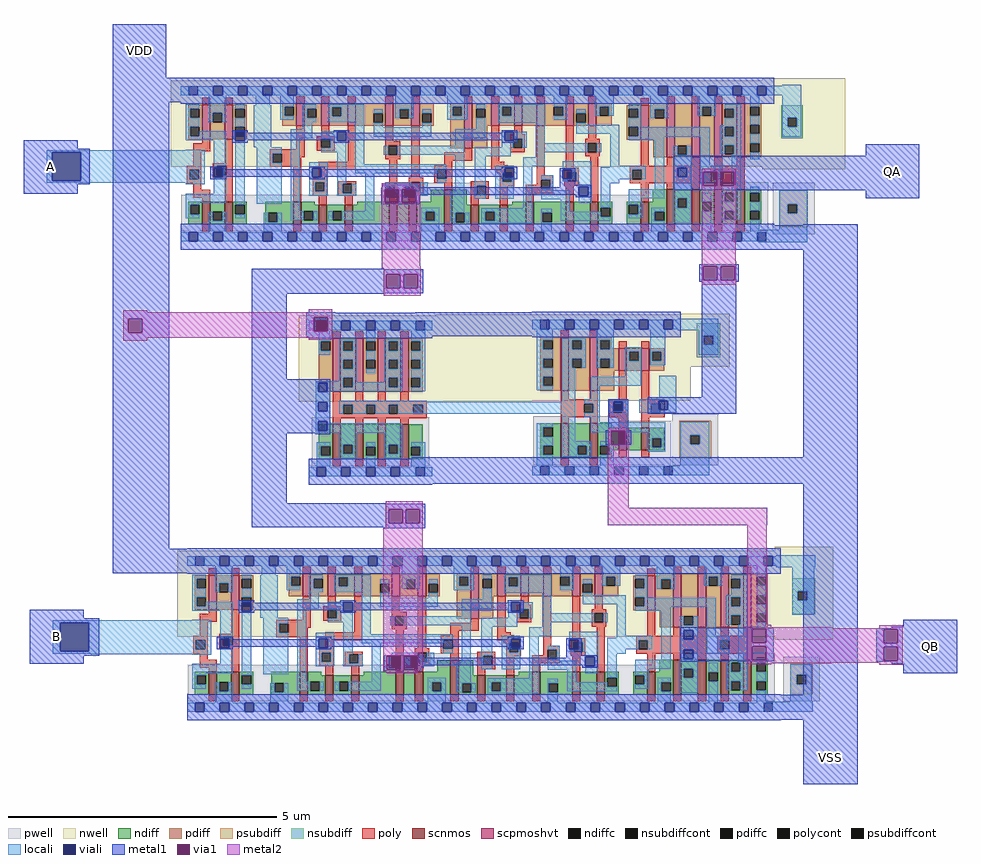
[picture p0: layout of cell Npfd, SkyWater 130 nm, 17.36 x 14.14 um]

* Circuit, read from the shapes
.subckt Npfd A QA VDD VSS QB B
XM1 VSS A n1 VSS sky130_fd_pr__nfet_01v8 w=0.42 l=0.15
XM2 VSS B n2 VSS sky130_fd_pr__nfet_01v8 w=0.42 l=0.15
XM3 n3 n1 VSS VSS sky130_fd_pr__nfet_01v8 w=0.42 l=0.15
XM4 n4 n2 VSS VSS sky130_fd_pr__nfet_01v8 w=0.42 l=0.15
XM5 n5 VDD VSS VSS sky130_fd_pr__nfet_01v8 w=0.42 l=0.15
XM6 n6 VDD VSS VSS sky130_fd_pr__nfet_01v8 w=0.42 l=0.15
XM7 n7 n1 n5 VSS sky130_fd_pr__nfet_01v8 w=0.36 l=0.15
XM8 n8 n2 n6 VSS sky130_fd_pr__nfet_01v8 w=0.36 l=0.15
XM9 x1/RESET_B x4/A VSS VSS sky130_fd_pr__nfet_01v8 w=0.65 l=0.15 m=4
XM10 n9 n3 n7 VSS sky130_fd_pr__nfet_01v8 w=0.36 l=0.15
XM11 n10 n4 n8 VSS sky130_fd_pr__nfet_01v8 w=0.36 l=0.15
XM12 n11 n12 n9 VSS sky130_fd_pr__nfet_01v8 w=0.42 l=0.15
XM13 n13 n14 n10 VSS sky130_fd_pr__nfet_01v8 w=0.42 l=0.15
XM14 VSS x1/RESET_B n11 VSS sky130_fd_pr__nfet_01v8 w=0.42 l=0.15
XM15 VSS x1/RESET_B n13 VSS sky130_fd_pr__nfet_01v8 w=0.42 l=0.15
XM16 n12 n7 VSS VSS sky130_fd_pr__nfet_01v8 w=0.64 l=0.15
XM17 n14 n8 VSS VSS sky130_fd_pr__nfet_01v8 w=0.64 l=0.15
XM18 n15 n3 n12 VSS sky130_fd_pr__nfet_01v8 w=0.36 l=0.15
XM19 n16 n4 n14 VSS sky130_fd_pr__nfet_01v8 w=0.36 l=0.15
XM20 n17 n1 n15 VSS sky130_fd_pr__nfet_01v8 w=0.36 l=0.15
XM21 n18 n2 n16 VSS sky130_fd_pr__nfet_01v8 w=0.36 l=0.15
XM22 VSS n19 n17 VSS sky130_fd_pr__nfet_01v8 w=0.42 l=0.15
XM23 VSS n20 n18 VSS sky130_fd_pr__nfet_01v8 w=0.42 l=0.15
XM24 x4/A n21 VSS VSS sky130_fd_pr__nfet_01v8 w=0.65 l=0.15 m=2
XM25 n22 x1/RESET_B VSS VSS sky130_fd_pr__nfet_01v8 w=0.42 l=0.15
XM26 n23 x1/RESET_B VSS VSS sky130_fd_pr__nfet_01v8 w=0.42 l=0.15
XM27 n19 n15 n22 VSS sky130_fd_pr__nfet_01v8 w=0.42 l=0.15
XM28 n20 n16 n23 VSS sky130_fd_pr__nfet_01v8 w=0.42 l=0.15
XM29 n24 QB VSS VSS sky130_fd_pr__nfet_01v8 w=0.42 l=0.15
XM30 VSS n19 n25 VSS sky130_fd_pr__nfet_01v8 w=0.42 l=0.15
XM31 n21 QA n24 VSS sky130_fd_pr__nfet_01v8 w=0.42 l=0.15
XM32 VSS n20 n26 VSS sky130_fd_pr__nfet_01v8 w=0.42 l=0.15
XM33 QA n19 VSS VSS sky130_fd_pr__nfet_01v8 w=0.65 l=0.15 m=2
XM34 QB n20 VSS VSS sky130_fd_pr__nfet_01v8 w=0.65 l=0.15 m=2
XM35 x1/Q_N n25 VSS VSS sky130_fd_pr__nfet_01v8 w=0.65 l=0.15 m=2
XM36 x2/Q_N n26 VSS VSS sky130_fd_pr__nfet_01v8 w=0.65 l=0.15 m=2
XM37 VDD A n1 VDD sky130_fd_pr__pfet_01v8_hvt w=0.64 l=0.15
XM38 VDD B n2 VDD sky130_fd_pr__pfet_01v8_hvt w=0.64 l=0.15
XM39 n3 n1 VDD VDD sky130_fd_pr__pfet_01v8_hvt w=0.64 l=0.15
XM40 n4 n2 VDD VDD sky130_fd_pr__pfet_01v8_hvt w=0.64 l=0.15
XM41 n5 VDD VDD VDD sky130_fd_pr__pfet_01v8_hvt w=0.42 l=0.15
XM42 n6 VDD VDD VDD sky130_fd_pr__pfet_01v8_hvt w=0.42 l=0.15
XM43 n7 n3 n5 VDD sky130_fd_pr__pfet_01v8_hvt w=0.42 l=0.15
XM44 n8 n4 n6 VDD sky130_fd_pr__pfet_01v8_hvt w=0.42 l=0.15
XM45 x1/RESET_B x4/A VDD VDD sky130_fd_pr__pfet_01v8_hvt w=1 l=0.15 m=4
XM46 n27 n1 n7 VDD sky130_fd_pr__pfet_01v8_hvt w=0.42 l=0.15
XM47 n28 n2 n8 VDD sky130_fd_pr__pfet_01v8_hvt w=0.42 l=0.15
XM48 VDD n12 n27 VDD sky130_fd_pr__pfet_01v8_hvt w=0.42 l=0.15
XM49 VDD n14 n28 VDD sky130_fd_pr__pfet_01v8_hvt w=0.42 l=0.15
XM50 n27 x1/RESET_B VDD VDD sky130_fd_pr__pfet_01v8_hvt w=0.42 l=0.15
XM51 n28 x1/RESET_B VDD VDD sky130_fd_pr__pfet_01v8_hvt w=0.42 l=0.15
XM52 n12 n7 VDD VDD sky130_fd_pr__pfet_01v8_hvt w=0.84 l=0.15
XM53 n14 n8 VDD VDD sky130_fd_pr__pfet_01v8_hvt w=0.84 l=0.15
XM54 n15 n1 n12 VDD sky130_fd_pr__pfet_01v8_hvt w=0.42 l=0.15
XM55 n16 n2 n14 VDD sky130_fd_pr__pfet_01v8_hvt w=0.42 l=0.15
XM56 n29 n3 n15 VDD sky130_fd_pr__pfet_01v8_hvt w=0.42 l=0.15
XM57 n30 n4 n16 VDD sky130_fd_pr__pfet_01v8_hvt w=0.42 l=0.15
XM58 VDD n19 n29 VDD sky130_fd_pr__pfet_01v8_hvt w=0.42 l=0.15
XM59 VDD n20 n30 VDD sky130_fd_pr__pfet_01v8_hvt w=0.42 l=0.15
XM60 x4/A n21 VDD VDD sky130_fd_pr__pfet_01v8_hvt w=1 l=0.15 m=2
XM61 n19 x1/RESET_B VDD VDD sky130_fd_pr__pfet_01v8_hvt w=0.42 l=0.15
XM62 n20 x1/RESET_B VDD VDD sky130_fd_pr__pfet_01v8_hvt w=0.42 l=0.15
XM63 VDD n15 n19 VDD sky130_fd_pr__pfet_01v8_hvt w=0.42 l=0.15
XM64 VDD n16 n20 VDD sky130_fd_pr__pfet_01v8_hvt w=0.42 l=0.15
XM65 n21 QB VDD VDD sky130_fd_pr__pfet_01v8_hvt w=0.42 l=0.15
XM66 VDD n19 n25 VDD sky130_fd_pr__pfet_01v8_hvt w=0.64 l=0.15
XM67 VDD QA n21 VDD sky130_fd_pr__pfet_01v8_hvt w=0.42 l=0.15
XM68 VDD n20 n26 VDD sky130_fd_pr__pfet_01v8_hvt w=0.64 l=0.15
XM69 QA n19 VDD VDD sky130_fd_pr__pfet_01v8_hvt w=1 l=0.15 m=2
XM70 QB n20 VDD VDD sky130_fd_pr__pfet_01v8_hvt w=1 l=0.15 m=2
XM71 x1/Q_N n25 VDD VDD sky130_fd_pr__pfet_01v8_hvt w=1 l=0.15 m=2
XM72 x2/Q_N n26 VDD VDD sky130_fd_pr__pfet_01v8_hvt w=1 l=0.15 m=2
.ends

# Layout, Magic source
magic
tech sky130A
magscale 1 2
<< nwell >>
rect 3772 106 4080 444
rect 2558 -758 2914 -434
rect 3468 -630 3650 -432
rect 3818 -1646 4036 -1300
<< pwell >>
rect 3810 -136 3966 56
rect 3436 -996 3608 -804
rect 3850 -1874 3986 -1708
<< psubdiff >>
rect 3836 -24 3940 30
rect 3836 -58 3867 -24
rect 3901 -58 3940 -24
rect 3836 -110 3940 -58
rect 3462 -884 3582 -830
rect 3462 -918 3504 -884
rect 3538 -918 3582 -884
rect 3462 -970 3582 -918
rect 3876 -1776 3960 -1734
rect 3876 -1810 3900 -1776
rect 3934 -1810 3960 -1776
rect 3876 -1848 3960 -1810
<< nsubdiff >>
rect 3842 298 3922 344
rect 3842 264 3866 298
rect 3900 264 3922 298
rect 3842 220 3922 264
rect 3528 -514 3614 -468
rect 3528 -548 3554 -514
rect 3588 -548 3614 -514
rect 3528 -594 3614 -548
rect 3882 -1464 3968 -1416
rect 3882 -1498 3904 -1464
rect 3938 -1498 3968 -1464
rect 3882 -1550 3968 -1498
<< psubdiffcont >>
rect 3867 -58 3901 -24
rect 3504 -918 3538 -884
rect 3900 -1810 3934 -1776
<< nsubdiffcont >>
rect 3866 264 3900 298
rect 3554 -548 3588 -514
rect 3904 -1498 3938 -1464
<< locali >>
rect 3846 416 3916 420
rect 1886 314 1938 386
rect 3804 380 3916 416
rect 3846 298 3916 380
rect 3846 264 3866 298
rect 3900 264 3916 298
rect 3846 226 3916 264
rect 1108 169 1674 176
rect 1108 63 1129 169
rect 1235 63 1674 169
rect 1108 56 1674 63
rect 3448 111 3498 144
rect 3448 77 3456 111
rect 3490 77 3498 111
rect 3448 44 3498 77
rect 3834 -24 3938 28
rect 3834 -58 3867 -24
rect 3901 -58 3938 -24
rect 3834 -120 3938 -58
rect 3756 -166 3938 -120
rect 3456 -494 3608 -450
rect 3534 -514 3608 -494
rect 3534 -548 3554 -514
rect 3588 -548 3608 -514
rect 3534 -584 3608 -548
rect 2114 -689 2158 -688
rect 2114 -723 2119 -689
rect 2153 -723 2158 -689
rect 2114 -761 2158 -723
rect 3358 -756 3448 -748
rect 3210 -759 3260 -756
rect 2114 -795 2119 -761
rect 2153 -795 2158 -761
rect 2114 -833 2158 -795
rect 2474 -804 3070 -760
rect 3210 -793 3218 -759
rect 3252 -793 3260 -759
rect 3210 -796 3260 -793
rect 3358 -790 3386 -756
rect 3420 -790 3448 -756
rect 3358 -798 3448 -790
rect 2114 -867 2119 -833
rect 2153 -867 2158 -833
rect 2114 -868 2158 -867
rect 3466 -884 3574 -834
rect 3466 -918 3504 -884
rect 3538 -918 3574 -884
rect 3466 -998 3574 -918
rect 3426 -1034 3574 -998
rect 1908 -1438 1960 -1366
rect 3824 -1376 3968 -1330
rect 3882 -1464 3964 -1376
rect 3882 -1498 3904 -1464
rect 3938 -1498 3964 -1464
rect 3882 -1552 3964 -1498
rect 1132 -1582 1704 -1572
rect 1132 -1688 1159 -1582
rect 1265 -1688 1704 -1582
rect 1132 -1698 1704 -1688
rect 1274 -1700 1704 -1698
rect 3472 -1644 3480 -1610
rect 3514 -1644 3522 -1610
rect 3472 -1682 3522 -1644
rect 3472 -1716 3480 -1682
rect 3514 -1716 3522 -1682
rect 3876 -1776 3956 -1736
rect 3876 -1810 3900 -1776
rect 3934 -1810 3956 -1776
rect 3876 -1876 3956 -1810
rect 3766 -1914 3960 -1876
<< viali >>
rect 1129 63 1235 169
rect 3456 77 3490 111
rect 2119 -723 2153 -689
rect 2119 -795 2153 -761
rect 3218 -793 3252 -759
rect 3386 -790 3420 -756
rect 2119 -867 2153 -833
rect 1159 -1688 1265 -1582
rect 3480 -1644 3514 -1610
rect 3480 -1716 3514 -1682
<< metal1 >>
rect 1354 446 1554 646
rect 1354 354 1684 446
rect 1024 182 1224 214
rect 1024 169 1268 182
rect 1024 63 1129 169
rect 1235 63 1268 169
rect 1024 50 1268 63
rect 1024 14 1224 50
rect 1354 -450 1564 354
rect 4156 156 4356 198
rect 3442 111 4356 156
rect 3442 77 3456 111
rect 3490 96 4356 111
rect 3490 77 3551 96
rect 3442 44 3551 77
rect 3603 44 3615 96
rect 3667 44 4356 96
rect 2354 32 2494 36
rect 3442 32 4356 44
rect 2354 -20 2366 32
rect 2418 -20 2430 32
rect 2482 -20 2494 32
rect 3444 28 4356 32
rect 4156 -2 4356 28
rect 2354 -24 2494 -20
rect 3924 -102 4126 -100
rect 3752 -194 4126 -102
rect 3536 -255 3684 -248
rect 1354 -502 1412 -450
rect 1464 -502 1564 -450
rect 1354 -1306 1564 -502
rect 1872 -266 2364 -264
rect 1872 -285 2510 -266
rect 1872 -337 2373 -285
rect 2425 -337 2437 -285
rect 2489 -337 2510 -285
rect 3536 -307 3552 -255
rect 3604 -307 3616 -255
rect 3668 -307 3684 -255
rect 3536 -314 3684 -307
rect 1872 -356 2510 -337
rect 1872 -358 2364 -356
rect 1872 -676 2002 -358
rect 2074 -446 2182 -426
rect 2074 -498 2102 -446
rect 2154 -498 2182 -446
rect 2074 -518 2182 -498
rect 2480 -516 2970 -426
rect 1872 -689 2164 -676
rect 1872 -723 2119 -689
rect 2153 -723 2164 -689
rect 1872 -761 2164 -723
rect 3546 -742 3674 -314
rect 1872 -795 2119 -761
rect 2153 -795 2164 -761
rect 1872 -833 2164 -795
rect 1872 -867 2119 -833
rect 2153 -867 2164 -833
rect 3198 -759 3272 -750
rect 3198 -793 3218 -759
rect 3252 -793 3272 -759
rect 3198 -866 3272 -793
rect 3346 -756 3674 -742
rect 3346 -790 3386 -756
rect 3420 -790 3674 -756
rect 3346 -804 3674 -790
rect 1872 -876 2164 -867
rect 1872 -1138 2002 -876
rect 2108 -880 2164 -876
rect 3188 -867 3284 -866
rect 3188 -919 3210 -867
rect 3262 -919 3284 -867
rect 3188 -920 3284 -919
rect 3924 -966 4126 -194
rect 2468 -1064 4126 -966
rect 1872 -1140 2374 -1138
rect 1872 -1159 2518 -1140
rect 1872 -1211 2381 -1159
rect 2433 -1211 2445 -1159
rect 2497 -1211 2518 -1159
rect 1872 -1226 2518 -1211
rect 2360 -1230 2518 -1226
rect 1354 -1398 1694 -1306
rect 1632 -1400 1694 -1398
rect 1046 -1566 1246 -1534
rect 1046 -1582 1304 -1566
rect 1046 -1688 1159 -1582
rect 1265 -1688 1304 -1582
rect 1046 -1704 1304 -1688
rect 3466 -1600 3528 -1598
rect 3466 -1605 3814 -1600
rect 3466 -1610 3734 -1605
rect 3466 -1644 3480 -1610
rect 3514 -1644 3734 -1610
rect 3466 -1657 3734 -1644
rect 3786 -1657 3814 -1605
rect 3466 -1669 3814 -1657
rect 3466 -1682 3734 -1669
rect 1046 -1734 1246 -1704
rect 2364 -1705 2500 -1702
rect 2364 -1757 2374 -1705
rect 2426 -1757 2438 -1705
rect 2490 -1757 2500 -1705
rect 3466 -1716 3480 -1682
rect 3514 -1716 3734 -1682
rect 3466 -1721 3734 -1716
rect 3786 -1721 3814 -1669
rect 3466 -1726 3814 -1721
rect 3466 -1728 3528 -1726
rect 2364 -1760 2500 -1757
rect 3924 -1850 4126 -1064
rect 4296 -1596 4496 -1570
rect 4254 -1602 4496 -1596
rect 4196 -1607 4496 -1602
rect 4196 -1659 4224 -1607
rect 4276 -1659 4496 -1607
rect 4196 -1671 4496 -1659
rect 4196 -1723 4224 -1671
rect 4276 -1723 4496 -1671
rect 4196 -1728 4496 -1723
rect 4254 -1734 4496 -1728
rect 4296 -1770 4496 -1734
rect 3774 -1942 4126 -1850
rect 3924 -2182 4126 -1942
<< via1 >>
rect 3551 44 3603 96
rect 3615 44 3667 96
rect 2366 -20 2418 32
rect 2430 -20 2482 32
rect 1412 -502 1464 -450
rect 2373 -337 2425 -285
rect 2437 -337 2489 -285
rect 3552 -307 3604 -255
rect 3616 -307 3668 -255
rect 2102 -498 2154 -446
rect 3210 -919 3262 -867
rect 2381 -1211 2433 -1159
rect 2445 -1211 2497 -1159
rect 3734 -1657 3786 -1605
rect 2374 -1757 2426 -1705
rect 2438 -1757 2490 -1705
rect 3734 -1721 3786 -1669
rect 4224 -1659 4276 -1607
rect 4224 -1723 4276 -1671
<< metal2 >>
rect 3546 96 3672 108
rect 2356 32 2498 54
rect 2356 -20 2366 32
rect 2418 -20 2430 32
rect 2482 -20 2498 32
rect 2356 -256 2498 -20
rect 3546 44 3551 96
rect 3603 44 3615 96
rect 3667 44 3672 96
rect 3546 -238 3672 44
rect 3546 -255 3674 -238
rect 2356 -262 2500 -256
rect 2362 -285 2500 -262
rect 2362 -337 2373 -285
rect 2425 -337 2437 -285
rect 2489 -337 2500 -285
rect 3546 -307 3552 -255
rect 3604 -307 3616 -255
rect 3668 -307 3674 -255
rect 3546 -324 3674 -307
rect 2362 -366 2500 -337
rect 1394 -426 1482 -420
rect 2084 -426 2172 -416
rect 1394 -446 2172 -426
rect 1394 -450 2102 -446
rect 1394 -502 1412 -450
rect 1464 -498 2102 -450
rect 2154 -498 2172 -446
rect 1464 -502 2172 -498
rect 1394 -522 2172 -502
rect 1394 -532 1482 -522
rect 2084 -528 2172 -522
rect 3198 -867 3274 -856
rect 3198 -919 3210 -867
rect 3262 -919 3274 -867
rect 3198 -920 3274 -919
rect 2370 -1159 2508 -1130
rect 2370 -1211 2381 -1159
rect 2433 -1211 2445 -1159
rect 2497 -1211 2508 -1159
rect 2370 -1230 2508 -1211
rect 3196 -1154 3274 -920
rect 3196 -1220 3790 -1154
rect 2360 -1705 2508 -1230
rect 2360 -1757 2374 -1705
rect 2426 -1757 2438 -1705
rect 2490 -1740 2508 -1705
rect 3716 -1590 3788 -1220
rect 3716 -1598 3804 -1590
rect 3716 -1602 4030 -1598
rect 4206 -1602 4294 -1592
rect 3716 -1605 4294 -1602
rect 3716 -1657 3734 -1605
rect 3786 -1607 4294 -1605
rect 3786 -1657 4224 -1607
rect 3716 -1659 4224 -1657
rect 4276 -1659 4294 -1607
rect 3716 -1669 4294 -1659
rect 3716 -1721 3734 -1669
rect 3786 -1671 4294 -1669
rect 3786 -1721 4224 -1671
rect 3716 -1723 4224 -1721
rect 4276 -1723 4294 -1671
rect 3716 -1730 4294 -1723
rect 3716 -1732 4030 -1730
rect 3716 -1736 3804 -1732
rect 4206 -1738 4294 -1730
rect 2490 -1757 2506 -1740
rect 2360 -1762 2506 -1757
rect 2374 -1770 2490 -1762
use sky130_fd_sc_hd__dfrbp_2  x1 ~/pll/magic/pfd
transform 1 0 1608 0 1 -146
box -38 -48 2246 592
use sky130_fd_sc_hd__dfrbp_2  x2
transform 1 0 1632 0 1 -1896
box -38 -48 2246 592
use sky130_fd_sc_hd__and2_2  x3 ~/pll/magic/pfd
transform -1 0 3468 0 1 -1016
box -38 -48 590 592
use sky130_fd_sc_hd__inv_4  x4 ~/pll/magic/pfd
transform -1 0 2544 0 1 -1020
box -38 -48 498 592
<< labels >>
flabel metal1 s 1024 14 1224 214 0 FreeSans 500 0 0 0 A
port 1 nsew
flabel metal1 s 4156 -2 4356 198 0 FreeSans 500 0 0 0 QA
port 2 nsew
flabel metal1 s 1354 446 1554 646 0 FreeSans 500 0 0 0 VDD
port 3 nsew
flabel metal1 s 3926 -2182 4126 -1982 0 FreeSans 500 0 0 0 VSS
port 4 nsew
flabel metal1 s 4296 -1770 4496 -1570 0 FreeSans 500 0 0 0 QB
port 5 nsew
flabel metal1 s 1046 -1734 1246 -1534 0 FreeSans 500 0 0 0 B
port 6 nsew
<< end >>

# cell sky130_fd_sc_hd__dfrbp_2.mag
magic
tech sky130A
magscale 1 2
<< nwell >>
rect -38 261 2246 582
<< pwell >>
rect 903 157 1089 201
rect 1730 157 2186 203
rect 1 21 2186 157
rect 29 -17 63 21
<< scnmos >>
rect 79 47 109 131
rect 163 47 193 131
rect 418 47 448 131
rect 513 47 543 119
rect 609 47 639 119
rect 775 47 805 131
rect 847 47 877 131
rect 979 47 1009 175
rect 1078 47 1108 119
rect 1187 47 1217 119
rect 1283 47 1313 131
rect 1432 47 1462 131
rect 1523 47 1553 131
rect 1711 47 1741 131
rect 1808 47 1838 177
rect 1900 47 1930 177
rect 1984 47 2014 177
rect 2068 47 2098 177
<< scpmoshvt >>
rect 79 363 109 491
rect 163 363 193 491
rect 430 413 460 497
rect 522 413 552 497
rect 621 413 651 497
rect 761 413 791 497
rect 858 413 888 497
rect 1055 329 1085 497
rect 1154 413 1184 497
rect 1240 413 1270 497
rect 1324 413 1354 497
rect 1432 413 1462 497
rect 1516 413 1546 497
rect 1711 361 1741 489
rect 1808 297 1838 497
rect 1900 297 1930 497
rect 1984 297 2014 497
rect 2068 297 2098 497
<< ndiff >>
rect 27 119 79 131
rect 27 85 35 119
rect 69 85 79 119
rect 27 47 79 85
rect 109 93 163 131
rect 109 59 119 93
rect 153 59 163 93
rect 109 47 163 59
rect 193 119 245 131
rect 193 85 203 119
rect 237 85 245 119
rect 193 47 245 85
rect 313 89 418 131
rect 313 55 325 89
rect 359 55 418 89
rect 313 47 418 55
rect 448 119 498 131
rect 929 131 979 175
rect 657 119 775 131
rect 448 95 513 119
rect 448 61 458 95
rect 492 61 513 95
rect 448 47 513 61
rect 543 95 609 119
rect 543 61 565 95
rect 599 61 609 95
rect 543 47 609 61
rect 639 47 775 119
rect 805 47 847 131
rect 877 93 979 131
rect 877 59 911 93
rect 945 59 979 93
rect 877 47 979 59
rect 1009 119 1063 175
rect 1756 131 1808 177
rect 1233 119 1283 131
rect 1009 89 1078 119
rect 1009 55 1023 89
rect 1057 55 1078 89
rect 1009 47 1078 55
rect 1108 93 1187 119
rect 1108 59 1133 93
rect 1167 59 1187 93
rect 1108 47 1187 59
rect 1217 47 1283 119
rect 1313 89 1432 131
rect 1313 55 1345 89
rect 1379 55 1432 89
rect 1313 47 1432 55
rect 1462 47 1523 131
rect 1553 109 1605 131
rect 1553 75 1563 109
rect 1597 75 1605 109
rect 1553 47 1605 75
rect 1659 119 1711 131
rect 1659 85 1667 119
rect 1701 85 1711 119
rect 1659 47 1711 85
rect 1741 93 1808 131
rect 1741 59 1764 93
rect 1798 59 1808 93
rect 1741 47 1808 59
rect 1838 143 1900 177
rect 1838 109 1848 143
rect 1882 109 1900 143
rect 1838 47 1900 109
rect 1930 130 1984 177
rect 1930 96 1940 130
rect 1974 96 1984 130
rect 1930 47 1984 96
rect 2014 165 2068 177
rect 2014 131 2024 165
rect 2058 131 2068 165
rect 2014 97 2068 131
rect 2014 63 2024 97
rect 2058 63 2068 97
rect 2014 47 2068 63
rect 2098 165 2160 177
rect 2098 131 2118 165
rect 2152 131 2160 165
rect 2098 97 2160 131
rect 2098 63 2118 97
rect 2152 63 2160 97
rect 2098 47 2160 63
<< pdiff >>
rect 27 477 79 491
rect 27 443 35 477
rect 69 443 79 477
rect 27 409 79 443
rect 27 375 35 409
rect 69 375 79 409
rect 27 363 79 375
rect 109 461 163 491
rect 109 427 119 461
rect 153 427 163 461
rect 109 363 163 427
rect 193 477 245 491
rect 193 443 203 477
rect 237 443 245 477
rect 193 409 245 443
rect 378 485 430 497
rect 378 451 386 485
rect 420 451 430 485
rect 378 413 430 451
rect 460 477 522 497
rect 460 443 470 477
rect 504 443 522 477
rect 460 413 522 443
rect 552 483 621 497
rect 552 449 563 483
rect 597 449 621 483
rect 552 413 621 449
rect 651 459 761 497
rect 651 425 717 459
rect 751 425 761 459
rect 651 413 761 425
rect 791 475 858 497
rect 791 441 814 475
rect 848 441 858 475
rect 791 413 858 441
rect 888 459 940 497
rect 888 425 898 459
rect 932 425 940 459
rect 888 413 940 425
rect 1003 485 1055 497
rect 1003 451 1011 485
rect 1045 451 1055 485
rect 193 375 203 409
rect 237 375 245 409
rect 193 363 245 375
rect 1003 329 1055 451
rect 1085 477 1154 497
rect 1085 443 1099 477
rect 1133 443 1154 477
rect 1085 413 1154 443
rect 1184 484 1240 497
rect 1184 450 1196 484
rect 1230 450 1240 484
rect 1184 413 1240 450
rect 1270 413 1324 497
rect 1354 485 1432 497
rect 1354 451 1388 485
rect 1422 451 1432 485
rect 1354 413 1432 451
rect 1462 459 1516 497
rect 1462 425 1472 459
rect 1506 425 1516 459
rect 1462 413 1516 425
rect 1546 485 1603 497
rect 1758 489 1808 497
rect 1546 451 1558 485
rect 1592 451 1603 485
rect 1546 413 1603 451
rect 1659 477 1711 489
rect 1659 443 1667 477
rect 1701 443 1711 477
rect 1085 329 1139 413
rect 1659 409 1711 443
rect 1659 375 1667 409
rect 1701 375 1711 409
rect 1659 361 1711 375
rect 1741 475 1808 489
rect 1741 441 1764 475
rect 1798 441 1808 475
rect 1741 361 1808 441
rect 1758 297 1808 361
rect 1838 339 1900 497
rect 1838 305 1848 339
rect 1882 305 1900 339
rect 1838 297 1900 305
rect 1930 485 1984 497
rect 1930 451 1940 485
rect 1974 451 1984 485
rect 1930 297 1984 451
rect 2014 477 2068 497
rect 2014 443 2024 477
rect 2058 443 2068 477
rect 2014 409 2068 443
rect 2014 375 2024 409
rect 2058 375 2068 409
rect 2014 341 2068 375
rect 2014 307 2024 341
rect 2058 307 2068 341
rect 2014 297 2068 307
rect 2098 485 2160 497
rect 2098 451 2118 485
rect 2152 451 2160 485
rect 2098 417 2160 451
rect 2098 383 2118 417
rect 2152 383 2160 417
rect 2098 349 2160 383
rect 2098 315 2118 349
rect 2152 315 2160 349
rect 2098 297 2160 315
<< ndiffc >>
rect 35 85 69 119
rect 119 59 153 93
rect 203 85 237 119
rect 325 55 359 89
rect 458 61 492 95
rect 565 61 599 95
rect 911 59 945 93
rect 1023 55 1057 89
rect 1133 59 1167 93
rect 1345 55 1379 89
rect 1563 75 1597 109
rect 1667 85 1701 119
rect 1764 59 1798 93
rect 1848 109 1882 143
rect 1940 96 1974 130
rect 2024 131 2058 165
rect 2024 63 2058 97
rect 2118 131 2152 165
rect 2118 63 2152 97
<< pdiffc >>
rect 35 443 69 477
rect 35 375 69 409
rect 119 427 153 461
rect 203 443 237 477
rect 386 451 420 485
rect 470 443 504 477
rect 563 449 597 483
rect 717 425 751 459
rect 814 441 848 475
rect 898 425 932 459
rect 1011 451 1045 485
rect 203 375 237 409
rect 1099 443 1133 477
rect 1196 450 1230 484
rect 1388 451 1422 485
rect 1472 425 1506 459
rect 1558 451 1592 485
rect 1667 443 1701 477
rect 1667 375 1701 409
rect 1764 441 1798 475
rect 1848 305 1882 339
rect 1940 451 1974 485
rect 2024 443 2058 477
rect 2024 375 2058 409
rect 2024 307 2058 341
rect 2118 451 2152 485
rect 2118 383 2152 417
rect 2118 315 2152 349
<< poly >>
rect 79 491 109 517
rect 163 491 193 517
rect 430 497 460 523
rect 522 497 552 523
rect 621 497 651 523
rect 761 497 791 523
rect 858 497 888 523
rect 1055 497 1085 523
rect 1154 497 1184 523
rect 1240 497 1270 523
rect 1324 497 1354 523
rect 1432 497 1462 523
rect 1516 497 1546 523
rect 79 348 109 363
rect 46 318 109 348
rect 46 265 76 318
rect 163 274 193 363
rect 430 326 460 413
rect 522 375 552 413
rect 22 249 76 265
rect 22 215 32 249
rect 66 215 76 249
rect 118 264 193 274
rect 118 230 134 264
rect 168 230 193 264
rect 331 310 460 326
rect 506 365 572 375
rect 506 331 522 365
rect 556 331 572 365
rect 506 321 572 331
rect 331 276 341 310
rect 375 296 460 310
rect 375 276 448 296
rect 621 279 651 413
rect 761 355 791 413
rect 761 339 816 355
rect 761 305 771 339
rect 805 305 816 339
rect 761 289 816 305
rect 331 260 448 276
rect 118 220 193 230
rect 22 199 76 215
rect 46 176 76 199
rect 46 146 109 176
rect 79 131 109 146
rect 163 131 193 220
rect 418 131 448 260
rect 513 249 651 279
rect 513 219 544 249
rect 490 203 544 219
rect 490 169 500 203
rect 534 169 544 203
rect 490 153 544 169
rect 586 197 652 207
rect 586 163 602 197
rect 636 163 652 197
rect 586 153 652 163
rect 513 119 543 153
rect 609 119 639 153
rect 775 131 805 289
rect 858 219 888 413
rect 1711 489 1741 515
rect 1808 497 1838 523
rect 1900 497 1930 523
rect 1984 497 2014 523
rect 2068 497 2098 523
rect 1055 314 1085 329
rect 979 284 1085 314
rect 979 267 1009 284
rect 943 251 1009 267
rect 847 203 901 219
rect 847 169 857 203
rect 891 169 901 203
rect 943 217 953 251
rect 987 217 1009 251
rect 1154 279 1184 413
rect 1240 381 1270 413
rect 1226 365 1280 381
rect 1226 331 1236 365
rect 1270 331 1280 365
rect 1226 315 1280 331
rect 1154 267 1204 279
rect 1154 255 1217 267
rect 1154 249 1241 255
rect 1175 239 1241 249
rect 1175 237 1197 239
rect 943 201 1009 217
rect 979 175 1009 201
rect 1078 191 1145 207
rect 847 153 901 169
rect 847 131 877 153
rect 1078 157 1101 191
rect 1135 157 1145 191
rect 1078 141 1145 157
rect 1187 205 1197 237
rect 1231 205 1241 239
rect 1187 189 1241 205
rect 1324 229 1354 413
rect 1432 257 1462 413
rect 1516 365 1546 413
rect 1504 349 1558 365
rect 1504 315 1514 349
rect 1548 315 1558 349
rect 1504 299 1558 315
rect 1427 241 1481 257
rect 1324 213 1385 229
rect 1324 193 1341 213
rect 1078 119 1108 141
rect 1187 119 1217 189
rect 1283 179 1341 193
rect 1375 179 1385 213
rect 1427 207 1437 241
rect 1471 207 1481 241
rect 1427 191 1481 207
rect 1283 163 1385 179
rect 1283 131 1313 163
rect 1432 131 1462 191
rect 1523 131 1553 299
rect 1711 265 1741 361
rect 1808 265 1838 297
rect 1900 265 1930 297
rect 1984 265 2014 297
rect 2068 265 2098 297
rect 1670 249 1930 265
rect 1670 215 1680 249
rect 1714 215 1930 249
rect 1670 199 1930 215
rect 1972 249 2098 265
rect 1972 215 1982 249
rect 2016 215 2098 249
rect 1972 199 2098 215
rect 1711 131 1741 199
rect 1808 177 1838 199
rect 1900 177 1930 199
rect 1984 177 2014 199
rect 2068 177 2098 199
rect 79 21 109 47
rect 163 21 193 47
rect 418 21 448 47
rect 513 21 543 47
rect 609 21 639 47
rect 775 21 805 47
rect 847 21 877 47
rect 979 21 1009 47
rect 1078 21 1108 47
rect 1187 21 1217 47
rect 1283 21 1313 47
rect 1432 21 1462 47
rect 1523 21 1553 47
rect 1711 21 1741 47
rect 1808 21 1838 47
rect 1900 21 1930 47
rect 1984 21 2014 47
rect 2068 21 2098 47
<< polycont >>
rect 32 215 66 249
rect 134 230 168 264
rect 522 331 556 365
rect 341 276 375 310
rect 771 305 805 339
rect 500 169 534 203
rect 602 163 636 197
rect 857 169 891 203
rect 953 217 987 251
rect 1236 331 1270 365
rect 1101 157 1135 191
rect 1197 205 1231 239
rect 1514 315 1548 349
rect 1341 179 1375 213
rect 1437 207 1471 241
rect 1680 215 1714 249
rect 1982 215 2016 249
<< locali >>
rect 0 527 29 561
rect 63 527 121 561
rect 155 527 213 561
rect 247 527 305 561
rect 339 527 397 561
rect 431 527 489 561
rect 523 527 581 561
rect 615 527 673 561
rect 707 527 765 561
rect 799 527 857 561
rect 891 527 949 561
rect 983 527 1041 561
rect 1075 527 1133 561
rect 1167 527 1225 561
rect 1259 527 1317 561
rect 1351 527 1409 561
rect 1443 527 1501 561
rect 1535 527 1593 561
rect 1627 527 1685 561
rect 1719 527 1777 561
rect 1811 527 1869 561
rect 1903 527 1961 561
rect 1995 527 2053 561
rect 2087 527 2145 561
rect 2179 527 2208 561
rect 18 477 69 493
rect 18 443 35 477
rect 18 409 69 443
rect 103 461 169 527
rect 103 427 119 461
rect 153 427 169 461
rect 203 477 237 493
rect 18 375 35 409
rect 203 409 237 443
rect 69 375 168 393
rect 18 359 168 375
rect 18 249 88 325
rect 18 215 32 249
rect 66 215 88 249
rect 18 195 88 215
rect 122 264 168 359
rect 122 255 134 264
rect 156 221 168 230
rect 122 161 168 221
rect 18 127 168 161
rect 18 119 69 127
rect 18 85 35 119
rect 203 119 237 357
rect 271 333 336 490
rect 370 485 420 527
rect 370 451 386 485
rect 370 435 420 451
rect 454 477 504 493
rect 454 443 470 477
rect 454 427 504 443
rect 547 483 683 493
rect 547 449 563 483
rect 597 449 683 483
rect 798 475 864 527
rect 991 485 1065 527
rect 547 427 683 449
rect 454 401 488 427
rect 409 367 488 401
rect 522 391 615 393
rect 283 310 375 333
rect 283 276 341 310
rect 283 123 375 276
rect 18 69 69 85
rect 103 59 119 93
rect 153 59 169 93
rect 409 95 443 367
rect 522 365 581 391
rect 556 357 581 365
rect 556 331 615 357
rect 522 315 615 331
rect 477 255 547 277
rect 477 221 489 255
rect 523 221 547 255
rect 477 203 547 221
rect 477 169 500 203
rect 534 169 547 203
rect 477 153 547 169
rect 581 197 615 315
rect 649 271 683 427
rect 717 459 751 475
rect 798 441 814 475
rect 848 441 864 475
rect 898 459 932 475
rect 717 407 751 425
rect 991 451 1011 485
rect 1045 451 1065 485
rect 991 435 1065 451
rect 1099 477 1133 493
rect 898 407 932 425
rect 717 373 932 407
rect 1099 401 1133 443
rect 1180 484 1354 493
rect 1180 450 1196 484
rect 1230 450 1354 484
rect 1180 425 1354 450
rect 1388 485 1438 527
rect 1422 451 1438 485
rect 1542 485 1611 527
rect 1388 435 1438 451
rect 1472 459 1506 475
rect 1021 367 1133 401
rect 1021 339 1055 367
rect 755 305 771 339
rect 805 305 1055 339
rect 1194 357 1205 391
rect 1239 365 1286 391
rect 1194 333 1236 357
rect 649 251 987 271
rect 649 237 953 251
rect 581 163 602 197
rect 636 163 652 197
rect 581 153 652 163
rect 686 95 720 237
rect 761 187 857 203
rect 795 153 833 187
rect 891 169 919 203
rect 953 201 987 217
rect 867 153 919 169
rect 1021 167 1055 305
rect 203 69 237 85
rect 103 17 169 59
rect 309 55 325 89
rect 359 55 375 89
rect 409 61 458 95
rect 492 61 508 95
rect 549 61 565 95
rect 599 61 720 95
rect 895 93 961 109
rect 309 17 375 55
rect 895 59 911 93
rect 945 59 961 93
rect 895 17 961 59
rect 1003 89 1055 167
rect 1093 331 1236 333
rect 1270 331 1286 365
rect 1320 349 1354 425
rect 1542 451 1558 485
rect 1592 451 1611 485
rect 1667 477 1712 493
rect 1472 417 1506 425
rect 1701 443 1712 477
rect 1472 383 1632 417
rect 1093 299 1228 331
rect 1320 315 1514 349
rect 1548 315 1564 349
rect 1093 191 1135 299
rect 1320 297 1354 315
rect 1093 157 1101 191
rect 1093 141 1135 157
rect 1169 255 1239 265
rect 1169 239 1205 255
rect 1169 205 1197 239
rect 1231 205 1239 221
rect 1169 141 1239 205
rect 1273 263 1354 297
rect 1273 107 1307 263
rect 1421 250 1529 281
rect 1598 265 1632 383
rect 1667 409 1712 443
rect 1746 475 1814 527
rect 1746 441 1764 475
rect 1798 441 1814 475
rect 1924 485 1990 527
rect 1924 451 1940 485
rect 1974 451 1990 485
rect 2024 477 2084 493
rect 2058 443 2084 477
rect 2024 416 2084 443
rect 1701 407 1712 409
rect 2006 409 2084 416
rect 1701 375 1967 407
rect 1667 373 1967 375
rect 1667 359 1798 373
rect 1598 259 1730 265
rect 1455 241 1529 250
rect 1341 213 1385 229
rect 1375 179 1385 213
rect 1421 207 1437 216
rect 1471 207 1529 241
rect 1341 173 1385 179
rect 1481 187 1529 207
rect 1341 139 1447 173
rect 1117 93 1307 107
rect 1003 55 1023 89
rect 1057 55 1073 89
rect 1117 59 1133 93
rect 1167 59 1307 93
rect 1117 51 1307 59
rect 1341 89 1379 105
rect 1341 55 1345 89
rect 1413 93 1447 139
rect 1515 153 1529 187
rect 1481 127 1529 153
rect 1563 249 1730 259
rect 1563 215 1680 249
rect 1714 215 1730 249
rect 1563 199 1632 215
rect 1563 109 1597 199
rect 1764 177 1798 359
rect 1413 75 1563 93
rect 1413 59 1597 75
rect 1667 143 1798 177
rect 1832 305 1848 339
rect 1882 305 1899 339
rect 1832 143 1899 305
rect 1933 265 1967 373
rect 2006 375 2024 409
rect 2058 375 2084 409
rect 2006 341 2084 375
rect 2006 307 2024 341
rect 2058 307 2084 341
rect 1933 249 2016 265
rect 1933 215 1982 249
rect 1933 199 2016 215
rect 2050 165 2084 307
rect 2118 485 2152 527
rect 2118 417 2152 451
rect 2118 349 2152 383
rect 2118 289 2152 315
rect 1667 119 1717 143
rect 1701 85 1717 119
rect 1832 109 1848 143
rect 1882 109 1899 143
rect 1667 69 1717 85
rect 1751 93 1798 109
rect 1751 59 1764 93
rect 1341 17 1379 55
rect 1751 17 1798 59
rect 1832 53 1899 109
rect 1940 130 1974 165
rect 1940 17 1974 96
rect 2008 131 2024 165
rect 2058 131 2084 165
rect 2008 97 2084 131
rect 2008 63 2024 97
rect 2058 63 2084 97
rect 2008 62 2084 63
rect 2118 165 2152 186
rect 2118 97 2152 131
rect 2118 17 2152 63
rect 0 -17 29 17
rect 63 -17 121 17
rect 155 -17 213 17
rect 247 -17 305 17
rect 339 -17 397 17
rect 431 -17 489 17
rect 523 -17 581 17
rect 615 -17 673 17
rect 707 -17 765 17
rect 799 -17 857 17
rect 891 -17 949 17
rect 983 -17 1041 17
rect 1075 -17 1133 17
rect 1167 -17 1225 17
rect 1259 -17 1317 17
rect 1351 -17 1409 17
rect 1443 -17 1501 17
rect 1535 -17 1593 17
rect 1627 -17 1685 17
rect 1719 -17 1777 17
rect 1811 -17 1869 17
rect 1903 -17 1961 17
rect 1995 -17 2053 17
rect 2087 -17 2145 17
rect 2179 -17 2208 17
<< viali >>
rect 29 527 63 561
rect 121 527 155 561
rect 213 527 247 561
rect 305 527 339 561
rect 397 527 431 561
rect 489 527 523 561
rect 581 527 615 561
rect 673 527 707 561
rect 765 527 799 561
rect 857 527 891 561
rect 949 527 983 561
rect 1041 527 1075 561
rect 1133 527 1167 561
rect 1225 527 1259 561
rect 1317 527 1351 561
rect 1409 527 1443 561
rect 1501 527 1535 561
rect 1593 527 1627 561
rect 1685 527 1719 561
rect 1777 527 1811 561
rect 1869 527 1903 561
rect 1961 527 1995 561
rect 2053 527 2087 561
rect 2145 527 2179 561
rect 122 230 134 255
rect 134 230 156 255
rect 122 221 156 230
rect 203 375 237 391
rect 203 357 237 375
rect 581 357 615 391
rect 489 221 523 255
rect 1205 365 1239 391
rect 1205 357 1236 365
rect 1236 357 1239 365
rect 761 153 795 187
rect 833 169 857 187
rect 857 169 867 187
rect 833 153 867 169
rect 1205 239 1239 255
rect 1205 221 1231 239
rect 1231 221 1239 239
rect 1421 241 1455 250
rect 1421 216 1437 241
rect 1437 216 1455 241
rect 1481 153 1515 187
rect 29 -17 63 17
rect 121 -17 155 17
rect 213 -17 247 17
rect 305 -17 339 17
rect 397 -17 431 17
rect 489 -17 523 17
rect 581 -17 615 17
rect 673 -17 707 17
rect 765 -17 799 17
rect 857 -17 891 17
rect 949 -17 983 17
rect 1041 -17 1075 17
rect 1133 -17 1167 17
rect 1225 -17 1259 17
rect 1317 -17 1351 17
rect 1409 -17 1443 17
rect 1501 -17 1535 17
rect 1593 -17 1627 17
rect 1685 -17 1719 17
rect 1777 -17 1811 17
rect 1869 -17 1903 17
rect 1961 -17 1995 17
rect 2053 -17 2087 17
rect 2145 -17 2179 17
<< metal1 >>
rect 0 561 2208 592
rect 0 527 29 561
rect 63 527 121 561
rect 155 527 213 561
rect 247 527 305 561
rect 339 527 397 561
rect 431 527 489 561
rect 523 527 581 561
rect 615 527 673 561
rect 707 527 765 561
rect 799 527 857 561
rect 891 527 949 561
rect 983 527 1041 561
rect 1075 527 1133 561
rect 1167 527 1225 561
rect 1259 527 1317 561
rect 1351 527 1409 561
rect 1443 527 1501 561
rect 1535 527 1593 561
rect 1627 527 1685 561
rect 1719 527 1777 561
rect 1811 527 1869 561
rect 1903 527 1961 561
rect 1995 527 2053 561
rect 2087 527 2145 561
rect 2179 527 2208 561
rect 0 496 2208 527
rect 191 391 249 397
rect 191 357 203 391
rect 237 388 249 391
rect 569 391 627 397
rect 569 388 581 391
rect 237 360 581 388
rect 237 357 249 360
rect 191 351 249 357
rect 569 357 581 360
rect 615 388 627 391
rect 1193 391 1251 397
rect 1193 388 1205 391
rect 615 360 1205 388
rect 615 357 627 360
rect 569 351 627 357
rect 1193 357 1205 360
rect 1239 357 1251 391
rect 1193 351 1251 357
rect 110 255 168 261
rect 110 221 122 255
rect 156 252 168 255
rect 477 255 535 261
rect 477 252 489 255
rect 156 224 489 252
rect 156 221 168 224
rect 110 215 168 221
rect 477 221 489 224
rect 523 252 535 255
rect 1193 255 1251 261
rect 1193 252 1205 255
rect 523 224 1205 252
rect 523 221 535 224
rect 477 215 535 221
rect 1193 221 1205 224
rect 1239 221 1251 255
rect 1193 215 1251 221
rect 1409 250 1467 256
rect 1409 216 1421 250
rect 1455 216 1467 250
rect 1409 193 1467 216
rect 749 187 879 193
rect 749 153 761 187
rect 795 153 833 187
rect 867 184 879 187
rect 1409 187 1527 193
rect 1409 184 1481 187
rect 867 156 1481 184
rect 867 153 879 156
rect 749 147 879 153
rect 1469 153 1481 156
rect 1515 153 1527 187
rect 1469 147 1527 153
rect 0 17 2208 48
rect 0 -17 29 17
rect 63 -17 121 17
rect 155 -17 213 17
rect 247 -17 305 17
rect 339 -17 397 17
rect 431 -17 489 17
rect 523 -17 581 17
rect 615 -17 673 17
rect 707 -17 765 17
rect 799 -17 857 17
rect 891 -17 949 17
rect 983 -17 1041 17
rect 1075 -17 1133 17
rect 1167 -17 1225 17
rect 1259 -17 1317 17
rect 1351 -17 1409 17
rect 1443 -17 1501 17
rect 1535 -17 1593 17
rect 1627 -17 1685 17
rect 1719 -17 1777 17
rect 1811 -17 1869 17
rect 1903 -17 1961 17
rect 1995 -17 2053 17
rect 2087 -17 2145 17
rect 2179 -17 2208 17
rect 0 -48 2208 -17
<< labels >>
flabel metal1 s 29 -17 63 17 0 FreeSans 250 0 0 0 VGND
port 1 nsew
flabel metal1 s 29 527 63 561 0 FreeSans 250 0 0 0 VPWR
port 2 nsew
flabel pwell s 29 -17 63 17 0 FreeSans 250 0 0 0 VNB
port 3 nsew
flabel nwell s 29 527 63 561 0 FreeSans 250 0 0 0 VPB
port 4 nsew
flabel locali s 30 221 64 255 0 FreeSans 500 0 0 0 CLK
port 5 nsew
flabel locali s 30 289 64 323 0 FreeSans 500 0 0 0 CLK
port 5 nsew
flabel locali s 305 289 339 323 0 FreeSans 500 0 0 0 D
port 6 nsew
flabel locali s 1481 221 1515 255 0 FreeSans 500 0 0 0 RESET_B
port 7 nsew
flabel locali s 1481 153 1515 187 0 FreeSans 500 0 0 0 RESET_B
port 7 nsew
flabel locali s 2055 222 2078 257 0 FreeSans 250 0 0 0 Q_N
port 8 nsew
flabel locali s 1851 213 1883 249 0 FreeSans 250 0 0 0 Q
port 9 nsew
<< properties >>
string FIXED_BBOX 0 0 2208 544
<< end >>

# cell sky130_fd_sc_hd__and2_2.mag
magic
tech sky130A
magscale 1 2
<< nwell >>
rect -38 261 590 582
<< pwell >>
rect 231 185 549 203
rect 35 21 549 185
rect 35 17 63 21
rect 29 -17 63 17
<< scnmos >>
rect 117 75 147 159
rect 201 75 231 159
rect 309 47 339 177
rect 417 47 447 177
<< scpmoshvt >>
rect 117 371 147 455
rect 201 371 231 455
rect 309 297 339 497
rect 417 297 447 497
<< ndiff >>
rect 257 159 309 177
rect 61 121 117 159
rect 61 87 73 121
rect 107 87 117 121
rect 61 75 117 87
rect 147 75 201 159
rect 231 93 309 159
rect 231 75 265 93
rect 257 59 265 75
rect 299 59 309 93
rect 257 47 309 59
rect 339 93 417 177
rect 339 59 349 93
rect 383 59 417 93
rect 339 47 417 59
rect 447 161 523 177
rect 447 127 477 161
rect 511 127 523 161
rect 447 93 523 127
rect 447 59 477 93
rect 511 59 523 93
rect 447 47 523 59
<< pdiff >>
rect 257 485 309 497
rect 257 455 265 485
rect 61 443 117 455
rect 61 409 73 443
rect 107 409 117 443
rect 61 371 117 409
rect 147 443 201 455
rect 147 409 157 443
rect 191 409 201 443
rect 147 371 201 409
rect 231 451 265 455
rect 299 451 309 485
rect 231 417 309 451
rect 231 383 265 417
rect 299 383 309 417
rect 231 371 309 383
rect 247 297 309 371
rect 339 485 417 497
rect 339 451 369 485
rect 403 451 417 485
rect 339 417 417 451
rect 339 383 369 417
rect 403 383 417 417
rect 339 297 417 383
rect 447 485 523 497
rect 447 451 477 485
rect 511 451 523 485
rect 447 417 523 451
rect 447 383 477 417
rect 511 383 523 417
rect 447 349 523 383
rect 447 315 477 349
rect 511 315 523 349
rect 447 297 523 315
<< ndiffc >>
rect 73 87 107 121
rect 265 59 299 93
rect 349 59 383 93
rect 477 127 511 161
rect 477 59 511 93
<< pdiffc >>
rect 73 409 107 443
rect 157 409 191 443
rect 265 451 299 485
rect 265 383 299 417
rect 369 451 403 485
rect 369 383 403 417
rect 477 451 511 485
rect 477 383 511 417
rect 477 315 511 349
<< poly >>
rect 309 497 339 523
rect 417 497 447 523
rect 117 455 147 481
rect 201 455 231 481
rect 117 265 147 371
rect 60 249 147 265
rect 60 215 76 249
rect 110 215 147 249
rect 60 199 147 215
rect 117 159 147 199
rect 201 265 231 371
rect 309 265 339 297
rect 417 265 447 297
rect 201 249 267 265
rect 201 215 217 249
rect 251 215 267 249
rect 201 199 267 215
rect 309 249 447 265
rect 309 215 325 249
rect 359 215 447 249
rect 309 199 447 215
rect 201 159 231 199
rect 309 177 339 199
rect 417 177 447 199
rect 117 49 147 75
rect 201 49 231 75
rect 309 21 339 47
rect 417 21 447 47
<< polycont >>
rect 76 215 110 249
rect 217 215 251 249
rect 325 215 359 249
<< locali >>
rect 0 527 29 561
rect 63 527 121 561
rect 155 527 213 561
rect 247 527 305 561
rect 339 527 397 561
rect 431 527 489 561
rect 523 527 552 561
rect 57 443 113 527
rect 249 485 315 527
rect 57 409 73 443
rect 107 409 113 443
rect 57 393 113 409
rect 147 443 207 459
rect 147 409 157 443
rect 191 409 207 443
rect 17 265 80 353
rect 147 349 207 409
rect 249 451 265 485
rect 299 451 315 485
rect 249 417 315 451
rect 249 383 265 417
rect 299 383 315 417
rect 353 485 443 493
rect 353 451 369 485
rect 403 451 443 485
rect 353 417 443 451
rect 353 383 369 417
rect 403 383 443 417
rect 147 315 335 349
rect 301 265 335 315
rect 17 249 155 265
rect 17 215 76 249
rect 110 215 155 249
rect 201 249 267 265
rect 201 215 217 249
rect 251 215 267 249
rect 301 249 359 265
rect 301 215 325 249
rect 301 199 359 215
rect 301 181 335 199
rect 57 143 335 181
rect 57 121 123 143
rect 57 87 73 121
rect 107 87 123 121
rect 393 109 443 383
rect 477 485 535 527
rect 511 451 535 485
rect 477 417 535 451
rect 511 383 535 417
rect 477 349 535 383
rect 511 315 535 349
rect 477 299 535 315
rect 57 71 123 87
rect 249 93 299 109
rect 249 59 265 93
rect 249 17 299 59
rect 333 93 443 109
rect 333 59 349 93
rect 383 59 443 93
rect 333 51 443 59
rect 477 161 535 177
rect 511 127 535 161
rect 477 93 535 127
rect 511 59 535 93
rect 477 17 535 59
rect 0 -17 29 17
rect 63 -17 121 17
rect 155 -17 213 17
rect 247 -17 305 17
rect 339 -17 397 17
rect 431 -17 489 17
rect 523 -17 552 17
<< viali >>
rect 29 527 63 561
rect 121 527 155 561
rect 213 527 247 561
rect 305 527 339 561
rect 397 527 431 561
rect 489 527 523 561
rect 29 -17 63 17
rect 121 -17 155 17
rect 213 -17 247 17
rect 305 -17 339 17
rect 397 -17 431 17
rect 489 -17 523 17
<< metal1 >>
rect 0 561 552 592
rect 0 527 29 561
rect 63 527 121 561
rect 155 527 213 561
rect 247 527 305 561
rect 339 527 397 561
rect 431 527 489 561
rect 523 527 552 561
rect 0 496 552 527
rect 0 17 552 48
rect 0 -17 29 17
rect 63 -17 121 17
rect 155 -17 213 17
rect 247 -17 305 17
rect 339 -17 397 17
rect 431 -17 489 17
rect 523 -17 552 17
rect 0 -48 552 -17
<< labels >>
flabel metal1 s 29 527 63 561 0 FreeSans 250 0 0 0 VPWR
port 1 nsew
flabel metal1 s 29 -17 63 17 0 FreeSans 250 0 0 0 VGND
port 2 nsew
flabel pwell s 29 -17 63 17 0 FreeSans 250 0 0 0 VNB
port 3 nsew
flabel nwell s 29 527 63 561 0 FreeSans 250 0 0 0 VPB
port 4 nsew
flabel locali s 29 221 63 255 0 FreeSans 312 0 0 0 A
port 5 nsew
flabel locali s 121 221 155 255 0 FreeSans 312 0 0 0 A
port 5 nsew
flabel locali s 213 221 247 255 0 FreeSans 312 0 0 0 B
port 6 nsew
flabel locali s 397 425 431 459 0 FreeSans 312 0 0 0 X
port 7 nsew
flabel locali s 397 357 431 391 0 FreeSans 312 0 0 0 X
port 7 nsew
flabel locali s 397 289 431 323 0 FreeSans 312 0 0 0 X
port 7 nsew
flabel locali s 397 221 431 255 0 FreeSans 312 0 0 0 X
port 7 nsew
flabel locali s 397 85 431 119 0 FreeSans 312 0 0 0 X
port 7 nsew
flabel locali s 397 153 431 187 0 FreeSans 312 0 0 0 X
port 7 nsew
<< properties >>
string FIXED_BBOX 0 0 552 544
<< end >>

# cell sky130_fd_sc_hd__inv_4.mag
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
